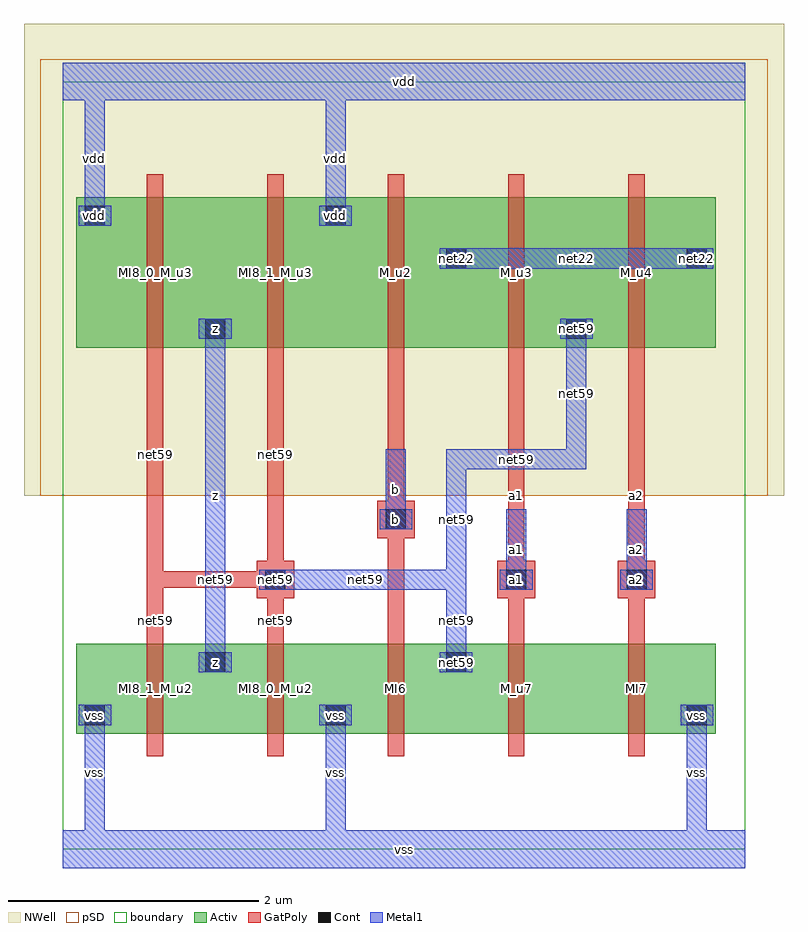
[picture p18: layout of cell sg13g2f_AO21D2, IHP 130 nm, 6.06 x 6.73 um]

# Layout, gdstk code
import gdstk
lib = gdstk.Library(unit=1e-6, precision=1e-09)
def R(c, l, rs):  # rectangles x0, y0, x1, y1
    for r in rs: c.add(gdstk.rectangle(r[:2], r[2:], *l))
def A(c, l, x, y, w, h, nx, ny, dx, dy):  # array of equal rectangles
    R(c, l, [(x+i*dx, y+j*dy, x+i*dx+w, y+j*dy+h) for i in range(nx) for j in range(ny)])
Activ = (1, 0)
GatPoly = (5, 0)
Cont = (6, 0)
Metal1 = (8, 0)
pSD = (14, 0)
NWell = (31, 0)
TEXT = (63, 0)
boundary = (189, 4)

sg13g2f_ao21d2 = lib.new_cell('sg13g2f_AO21D2')
A(sg13g2f_ao21d2, Activ, 0.105, 0.92, 1.26, 0.72, 5, 1, 0.96, 0)
A(sg13g2f_ao21d2, Activ, 0.105, 4, 1.26, 1.2, 5, 1, 0.96, 0)
R(sg13g2f_ao21d2, Activ, [(0.105,0.92,0.405,1.22), (2.025,0.92,2.325,1.22), (4.905,0.92,5.205,1.22), (1.065,1.34,1.365,1.64), (2.985,1.34,3.285,1.64), (1.065,4,1.365,4.3), (3.945,4,4.245,4.3), (2.985,4.56,3.285,4.86), (4.905,4.56,5.205,4.86), (0.105,4.9,0.405,5.2), (2.025,4.9,2.325,5.2)])
A(sg13g2f_ao21d2, GatPoly, 0.67, 0.74, 0.13, 1.08, 5, 1, 0.96, 0)
A(sg13g2f_ao21d2, GatPoly, 2.59, 1.425, 0.13, 2.79, 3, 1, 0.96, 0)
A(sg13g2f_ao21d2, GatPoly, 0.67, 3.82, 0.13, 1.56, 5, 1, 0.96, 0)
R(sg13g2f_ao21d2, GatPoly, [(0.67,1.425,0.8,2.215), (1.63,1.425,1.76,2.215), (1.545,2,1.845,2.3), (3.465,2,3.765,2.3), (4.425,2,4.725,2.3), (0.67,2.085,1.76,2.215), (0.67,2.085,0.8,4.215), (1.63,2.085,1.76,4.215), (2.505,2.48,2.805,2.78)])
R(sg13g2f_ao21d2, Cont, [(0.175,0.99,0.335,1.15), (2.095,0.99,2.255,1.15), (4.975,0.99,5.135,1.15), (1.135,1.41,1.295,1.57), (3.055,1.41,3.215,1.57), (1.615,2.07,1.775,2.23), (3.535,2.07,3.695,2.23), (4.495,2.07,4.655,2.23), (2.575,2.55,2.735,2.71), (1.135,4.07,1.295,4.23), (4.015,4.07,4.175,4.23), (3.055,4.63,3.215,4.79), (4.975,4.63,5.135,4.79), (0.175,4.97,0.335,5.13), (2.095,4.97,2.255,5.13)])
R(sg13g2f_ao21d2, Metal1, [(0,-0.15,5.44,0.15), (0.175,0.07,0.335,1.15), (2.095,0.07,2.255,1.15), (4.975,0.07,5.135,1.15), (0.125,0.99,0.385,1.15), (2.045,0.99,2.305,1.15), (4.925,0.99,5.185,1.15), (1.085,1.41,1.345,1.57), (1.135,1.41,1.295,4.23), (3.005,1.41,3.265,1.57), (3.055,1.41,3.215,2.23), (1.565,2.07,1.825,2.23), (1.615,2.07,3.215,2.23), (3.055,2.07,3.215,3.19), (3.485,2.07,3.745,2.23), (3.535,2.07,3.695,2.71), (4.445,2.07,4.705,2.23), (4.495,2.07,4.655,2.71), (2.525,2.55,2.785,2.71), (2.575,2.55,2.735,3.19), (3.055,3.03,4.175,3.19), (4.015,3.03,4.175,4.23), (1.085,4.07,1.345,4.23), (3.965,4.07,4.225,4.23), (3.005,4.63,3.265,4.79), (3.055,4.63,5.135,4.79), (4.925,4.63,5.185,4.79), (0.125,4.97,0.385,5.13), (0.175,4.97,0.335,6.05), (2.045,4.97,2.305,5.13), (2.095,4.97,2.255,6.05), (0,5.97,5.44,6.27)])
R(sg13g2f_ao21d2, pSD, [(-0.18,2.82,5.62,5.94), (-0.18,5.94,5.62,6.3)])
R(sg13g2f_ao21d2, NWell, [(-0.31,2.82,5.75,6.58)])
R(sg13g2f_ao21d2, boundary, [(0,0,5.44,6.12)])
sg13g2f_ao21d2.add(gdstk.FlexPath([(0.105,0.41),(5.205,0.41)], 0, ends="flush", simple_path=True, layer=63, datatype=0))  # TEXT
sg13g2f_ao21d2.add(gdstk.FlexPath([(0.105,1.07),(5.205,1.07)], 0, ends="flush", simple_path=True, layer=63, datatype=0))  # TEXT
sg13g2f_ao21d2.add(gdstk.FlexPath([(0.105,1.49),(5.205,1.49)], 0, ends="flush", simple_path=True, layer=63, datatype=0))  # TEXT
sg13g2f_ao21d2.add(gdstk.FlexPath([(0.105,2.15),(5.205,2.15)], 0, ends="flush", simple_path=True, layer=63, datatype=0))  # TEXT
sg13g2f_ao21d2.add(gdstk.FlexPath([(0.105,2.63),(5.205,2.63)], 0, ends="flush", simple_path=True, layer=63, datatype=0))  # TEXT
sg13g2f_ao21d2.add(gdstk.FlexPath([(0.105,3.11),(5.205,3.11)], 0, ends="flush", simple_path=True, layer=63, datatype=0))  # TEXT
sg13g2f_ao21d2.add(gdstk.FlexPath([(0.105,4.15),(5.205,4.15)], 0, ends="flush", simple_path=True, layer=63, datatype=0))  # TEXT
sg13g2f_ao21d2.add(gdstk.FlexPath([(0.105,4.71),(5.205,4.71)], 0, ends="flush", simple_path=True, layer=63, datatype=0))  # TEXT
sg13g2f_ao21d2.add(gdstk.FlexPath([(0.105,5.05),(5.205,5.05)], 0, ends="flush", simple_path=True, layer=63, datatype=0))  # TEXT
sg13g2f_ao21d2.add(gdstk.FlexPath([(0.105,5.71),(5.205,5.71)], 0, ends="flush", simple_path=True, layer=63, datatype=0))  # TEXT
sg13g2f_ao21d2.add(gdstk.FlexPath([(0.255,0.07),(0.255,6.05)], 0, ends="flush", simple_path=True, layer=63, datatype=0))  # TEXT
sg13g2f_ao21d2.add(gdstk.FlexPath([(0.735,0.07),(0.735,6.05)], 0, ends="flush", simple_path=True, layer=63, datatype=0))  # TEXT
sg13g2f_ao21d2.add(gdstk.FlexPath([(1.215,0.07),(1.215,6.05)], 0, ends="flush", simple_path=True, layer=63, datatype=0))  # TEXT
sg13g2f_ao21d2.add(gdstk.FlexPath([(1.695,0.07),(1.695,6.05)], 0, ends="flush", simple_path=True, layer=63, datatype=0))  # TEXT
sg13g2f_ao21d2.add(gdstk.FlexPath([(2.175,0.07),(2.175,6.05)], 0, ends="flush", simple_path=True, layer=63, datatype=0))  # TEXT
sg13g2f_ao21d2.add(gdstk.FlexPath([(2.655,0.07),(2.655,6.05)], 0, ends="flush", simple_path=True, layer=63, datatype=0))  # TEXT
sg13g2f_ao21d2.add(gdstk.FlexPath([(3.135,0.07),(3.135,6.05)], 0, ends="flush", simple_path=True, layer=63, datatype=0))  # TEXT
sg13g2f_ao21d2.add(gdstk.FlexPath([(3.615,0.07),(3.615,6.05)], 0, ends="flush", simple_path=True, layer=63, datatype=0))  # TEXT
sg13g2f_ao21d2.add(gdstk.FlexPath([(4.095,0.07),(4.095,6.05)], 0, ends="flush", simple_path=True, layer=63, datatype=0))  # TEXT
sg13g2f_ao21d2.add(gdstk.FlexPath([(4.575,0.07),(4.575,6.05)], 0, ends="flush", simple_path=True, layer=63, datatype=0))  # TEXT
sg13g2f_ao21d2.add(gdstk.FlexPath([(5.055,0.07),(5.055,6.05)], 0, ends="flush", simple_path=True, layer=63, datatype=0))  # TEXT
sg13g2f_ao21d2.add(gdstk.Label('a2', (4.575,2.15), layer=6, texttype=0))
sg13g2f_ao21d2.add(gdstk.Label('net59', (3.135,1.49), layer=6, texttype=0))
sg13g2f_ao21d2.add(gdstk.Label('net59', (4.095,4.15), layer=6, texttype=0))
sg13g2f_ao21d2.add(gdstk.Label('net59', (1.695,2.15), layer=6, texttype=0))
sg13g2f_ao21d2.add(gdstk.Label('a1', (3.615,2.15), layer=6, texttype=0))
sg13g2f_ao21d2.add(gdstk.Label('b', (2.655,2.63), layer=6, texttype=0))
sg13g2f_ao21d2.add(gdstk.Label('z', (1.215,1.49), layer=6, texttype=0))
sg13g2f_ao21d2.add(gdstk.Label('z', (1.215,4.15), layer=6, texttype=0))
sg13g2f_ao21d2.add(gdstk.Label('net22', (3.135,4.71), layer=6, texttype=0))
sg13g2f_ao21d2.add(gdstk.Label('net22', (5.055,4.71), layer=6, texttype=0))
sg13g2f_ao21d2.add(gdstk.Label('vss', (5.055,1.07), layer=6, texttype=0))
sg13g2f_ao21d2.add(gdstk.Label('vss', (2.175,1.07), layer=6, texttype=0))
sg13g2f_ao21d2.add(gdstk.Label('vss', (0.255,1.07), layer=6, texttype=0))
sg13g2f_ao21d2.add(gdstk.Label('vdd', (0.255,5.05), layer=6, texttype=0))
sg13g2f_ao21d2.add(gdstk.Label('vdd', (2.175,5.05), layer=6, texttype=0))
sg13g2f_ao21d2.add(gdstk.Label('net59', (3.135,1.49), layer=8, texttype=0))
sg13g2f_ao21d2.add(gdstk.Label('net59', (4.095,4.15), layer=8, texttype=0))
sg13g2f_ao21d2.add(gdstk.Label('net59', (3.135,1.82), layer=8, texttype=0))
sg13g2f_ao21d2.add(gdstk.Label('net59', (2.415,2.15), layer=8, texttype=0))
sg13g2f_ao21d2.add(gdstk.Label('net59', (1.695,2.15), layer=8, texttype=0))
sg13g2f_ao21d2.add(gdstk.Label('net59', (3.135,2.63), layer=8, texttype=0))
sg13g2f_ao21d2.add(gdstk.Label('net59', (3.615,3.11), layer=8, texttype=0))
sg13g2f_ao21d2.add(gdstk.Label('net59', (4.095,3.63), layer=8, texttype=0))
sg13g2f_ao21d2.add(gdstk.Label('net22', (3.135,4.71), layer=8, texttype=0))
sg13g2f_ao21d2.add(gdstk.Label('net22', (5.055,4.71), layer=8, texttype=0))
sg13g2f_ao21d2.add(gdstk.Label('net22', (4.095,4.71), layer=8, texttype=0))
sg13g2f_ao21d2.add(gdstk.Label('vss', (5.055,1.07), layer=8, texttype=0))
sg13g2f_ao21d2.add(gdstk.Label('vss', (5.055,0.61), layer=8, texttype=0))
sg13g2f_ao21d2.add(gdstk.Label('vss', (2.175,1.07), layer=8, texttype=0))
sg13g2f_ao21d2.add(gdstk.Label('vss', (2.175,0.61), layer=8, texttype=0))
sg13g2f_ao21d2.add(gdstk.Label('vss', (0.255,1.07), layer=8, texttype=0))
sg13g2f_ao21d2.add(gdstk.Label('vss', (0.255,0.61), layer=8, texttype=0))
sg13g2f_ao21d2.add(gdstk.Label('vdd', (0.255,5.05), layer=8, texttype=0))
sg13g2f_ao21d2.add(gdstk.Label('vdd', (0.255,5.51), layer=8, texttype=0))
sg13g2f_ao21d2.add(gdstk.Label('vdd', (2.175,5.05), layer=8, texttype=0))
sg13g2f_ao21d2.add(gdstk.Label('vdd', (2.175,5.51), layer=8, texttype=0))
sg13g2f_ao21d2.add(gdstk.Label('a2', (4.575,2.15), layer=8, texttype=2))
sg13g2f_ao21d2.add(gdstk.Label('a2', (4.575,2.39), layer=8, texttype=2))
sg13g2f_ao21d2.add(gdstk.Label('a1', (3.615,2.15), layer=8, texttype=2))
sg13g2f_ao21d2.add(gdstk.Label('a1', (3.615,2.39), layer=8, texttype=2))
sg13g2f_ao21d2.add(gdstk.Label('b', (2.655,2.63), layer=8, texttype=2))
sg13g2f_ao21d2.add(gdstk.Label('b', (2.655,2.87), layer=8, texttype=2))
sg13g2f_ao21d2.add(gdstk.Label('z', (1.215,1.49), layer=8, texttype=2))
sg13g2f_ao21d2.add(gdstk.Label('z', (1.215,4.15), layer=8, texttype=2))
sg13g2f_ao21d2.add(gdstk.Label('z', (1.215,2.82), layer=8, texttype=2))
sg13g2f_ao21d2.add(gdstk.Label('vss', (2.72,0), layer=8, texttype=2))
sg13g2f_ao21d2.add(gdstk.Label('vdd', (2.72,6.12), layer=8, texttype=2))
sg13g2f_ao21d2.add(gdstk.Label('a2', (4.575,2.15), layer=8, texttype=2))
sg13g2f_ao21d2.add(gdstk.Label('a2', (4.575,2.39), layer=8, texttype=2))
sg13g2f_ao21d2.add(gdstk.Label('a1', (3.615,2.15), layer=8, texttype=2))
sg13g2f_ao21d2.add(gdstk.Label('a1', (3.615,2.39), layer=8, texttype=2))
sg13g2f_ao21d2.add(gdstk.Label('b', (2.655,2.63), layer=8, texttype=2))
sg13g2f_ao21d2.add(gdstk.Label('b', (2.655,2.87), layer=8, texttype=2))
sg13g2f_ao21d2.add(gdstk.Label('z', (1.215,1.49), layer=8, texttype=2))
sg13g2f_ao21d2.add(gdstk.Label('z', (1.215,4.15), layer=8, texttype=2))
sg13g2f_ao21d2.add(gdstk.Label('z', (1.215,2.82), layer=8, texttype=2))
sg13g2f_ao21d2.add(gdstk.Label('vss', (2.72,0), layer=8, texttype=2))
sg13g2f_ao21d2.add(gdstk.Label('vdd', (2.72,6.12), layer=8, texttype=2))
sg13g2f_ao21d2.add(gdstk.Label('MI7', (4.575,1.28), layer=1, texttype=0))
sg13g2f_ao21d2.add(gdstk.Label('M_u7', (3.615,1.28), layer=1, texttype=0))
sg13g2f_ao21d2.add(gdstk.Label('MI6', (2.655,1.28), layer=1, texttype=0))
sg13g2f_ao21d2.add(gdstk.Label('MI8_0_M_u2', (1.695,1.28), layer=1, texttype=0))
sg13g2f_ao21d2.add(gdstk.Label('MI8_1_M_u2', (0.735,1.28), layer=1, texttype=0))
sg13g2f_ao21d2.add(gdstk.Label('M_u3', (3.615,4.6), layer=1, texttype=0))
sg13g2f_ao21d2.add(gdstk.Label('MI8_0_M_u3', (0.735,4.6), layer=1, texttype=0))
sg13g2f_ao21d2.add(gdstk.Label('MI8_1_M_u3', (1.695,4.6), layer=1, texttype=0))
sg13g2f_ao21d2.add(gdstk.Label('M_u4', (4.575,4.6), layer=1, texttype=0))
sg13g2f_ao21d2.add(gdstk.Label('M_u2', (2.655,4.6), layer=1, texttype=0))
sg13g2f_ao21d2.add(gdstk.Label('net59', (3.135,1.49), layer=1, texttype=0))
sg13g2f_ao21d2.add(gdstk.Label('net59', (4.095,4.15), layer=1, texttype=0))
sg13g2f_ao21d2.add(gdstk.Label('z', (1.215,1.49), layer=1, texttype=0))
sg13g2f_ao21d2.add(gdstk.Label('z', (1.215,4.15), layer=1, texttype=0))
sg13g2f_ao21d2.add(gdstk.Label('net22', (3.135,4.71), layer=1, texttype=0))
sg13g2f_ao21d2.add(gdstk.Label('net22', (5.055,4.71), layer=1, texttype=0))
sg13g2f_ao21d2.add(gdstk.Label('vss', (5.055,1.07), layer=1, texttype=0))
sg13g2f_ao21d2.add(gdstk.Label('vss', (2.175,1.07), layer=1, texttype=0))
sg13g2f_ao21d2.add(gdstk.Label('vss', (0.255,1.07), layer=1, texttype=0))
sg13g2f_ao21d2.add(gdstk.Label('vdd', (0.255,5.05), layer=1, texttype=0))
sg13g2f_ao21d2.add(gdstk.Label('vdd', (2.175,5.05), layer=1, texttype=0))
sg13g2f_ao21d2.add(gdstk.Label('a2', (4.575,2.15), layer=8, texttype=25))
sg13g2f_ao21d2.add(gdstk.Label('a2', (4.575,2.39), layer=8, texttype=25))
sg13g2f_ao21d2.add(gdstk.Label('a1', (3.615,2.15), layer=8, texttype=25))
sg13g2f_ao21d2.add(gdstk.Label('a1', (3.615,2.39), layer=8, texttype=25))
sg13g2f_ao21d2.add(gdstk.Label('b', (2.655,2.63), layer=8, texttype=25))
sg13g2f_ao21d2.add(gdstk.Label('b', (2.655,2.87), layer=8, texttype=25))
sg13g2f_ao21d2.add(gdstk.Label('z', (1.215,1.49), layer=8, texttype=25))
sg13g2f_ao21d2.add(gdstk.Label('z', (1.215,4.15), layer=8, texttype=25))
sg13g2f_ao21d2.add(gdstk.Label('z', (1.215,2.82), layer=8, texttype=25))
sg13g2f_ao21d2.add(gdstk.Label('vss', (2.72,0), layer=8, texttype=25))
sg13g2f_ao21d2.add(gdstk.Label('vdd', (2.72,6.12), layer=8, texttype=25))
sg13g2f_ao21d2.add(gdstk.Label('a2', (4.575,2.82), layer=5, texttype=0))
sg13g2f_ao21d2.add(gdstk.Label('a2', (4.575,2.15), layer=5, texttype=0))
sg13g2f_ao21d2.add(gdstk.Label('net59', (1.695,2.15), layer=5, texttype=0))
sg13g2f_ao21d2.add(gdstk.Label('net59', (1.695,1.82), layer=5, texttype=0))
sg13g2f_ao21d2.add(gdstk.Label('net59', (1.215,2.15), layer=5, texttype=0))
sg13g2f_ao21d2.add(gdstk.Label('net59', (0.735,1.82), layer=5, texttype=0))
sg13g2f_ao21d2.add(gdstk.Label('net59', (0.735,3.15), layer=5, texttype=0))
sg13g2f_ao21d2.add(gdstk.Label('net59', (1.695,3.15), layer=5, texttype=0))
sg13g2f_ao21d2.add(gdstk.Label('a1', (3.615,2.82), layer=5, texttype=0))
sg13g2f_ao21d2.add(gdstk.Label('a1', (3.615,2.15), layer=5, texttype=0))
sg13g2f_ao21d2.add(gdstk.Label('b', (2.655,2.82), layer=5, texttype=0))
sg13g2f_ao21d2.add(gdstk.Label('b', (2.655,2.63), layer=5, texttype=0))

lib.write_gds('sg13g2f_AO21D2.gds')
